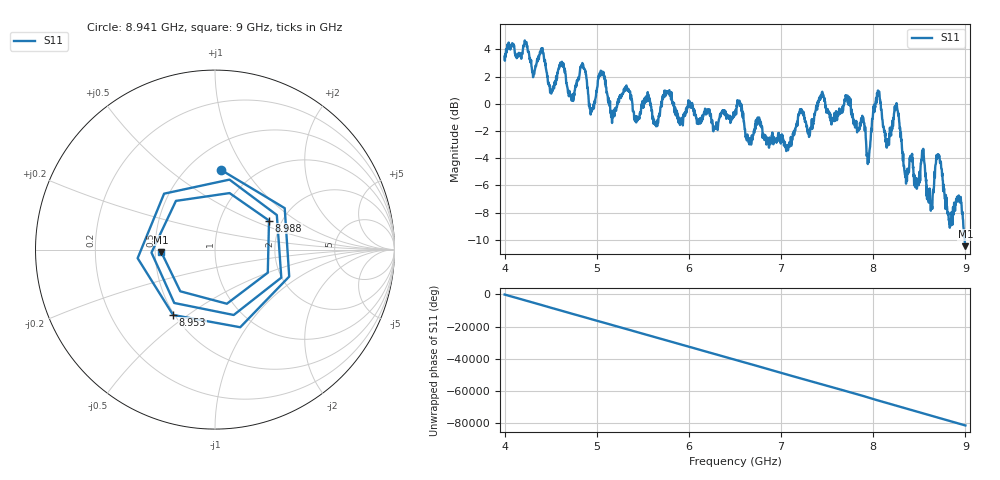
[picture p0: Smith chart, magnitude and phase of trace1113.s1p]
! Created with skrf 1.8.0 (http://scikit-rf.org).
# Hz S RI R 50.0
!freq ReS11 ImS11
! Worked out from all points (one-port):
!   1601 points, 4 GHz to 9 GHz, reference 50 ohm
!   lowest |S11| = -10.5 dB at 9 GHz (marker M1), VSWR 1.86, Z = 26.9 - j0.776 ohm
!   |S11| at or under -10 dB: 8.992167 GHz to end of sweep
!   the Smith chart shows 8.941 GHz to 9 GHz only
!   S11 on the Smith chart (normalised r, x): 8.941 GHz: 0.71, +0.79; 8.953 GHz: 0.49, -0.44; 8.988 GHz: 1.72, +0.63; 9 GHz: 0.54, -0.02
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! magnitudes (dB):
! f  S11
! 4 GHz  3.5
! 4.403 GHz  3.9
! 4.512 GHz  0.9
! 4.625 GHz  2.9
! 4.731 GHz  0.4
! 4.853 GHz  2.9
! 4.941 GHz  -0.3
! 5.047 GHz  2.2
! 5.172 GHz  -1.0
! 5.25 GHz  0.5
! 5.875 GHz  -0.7
! 6.5 GHz  -0.6
! 7.125 GHz  -2.6
! 7.434 GHz  0.5
! 7.75 GHz  0.3
! 7.947 GHz  -4.0
! 8.044 GHz  0.6
! 8.153 GHz  -3.1
! 8.253 GHz  0.1
! 8.375 GHz  -5.1
! 8.538 GHz  -3.7
! 8.619 GHz  -7.3
! 8.709 GHz  -4.0
! 8.822 GHz  -8.5
! 8.941 GHz  -7.0
! 8.953 GHz  -7.3
! 8.988 GHz  -9.3
! 9 GHz  -10.5
